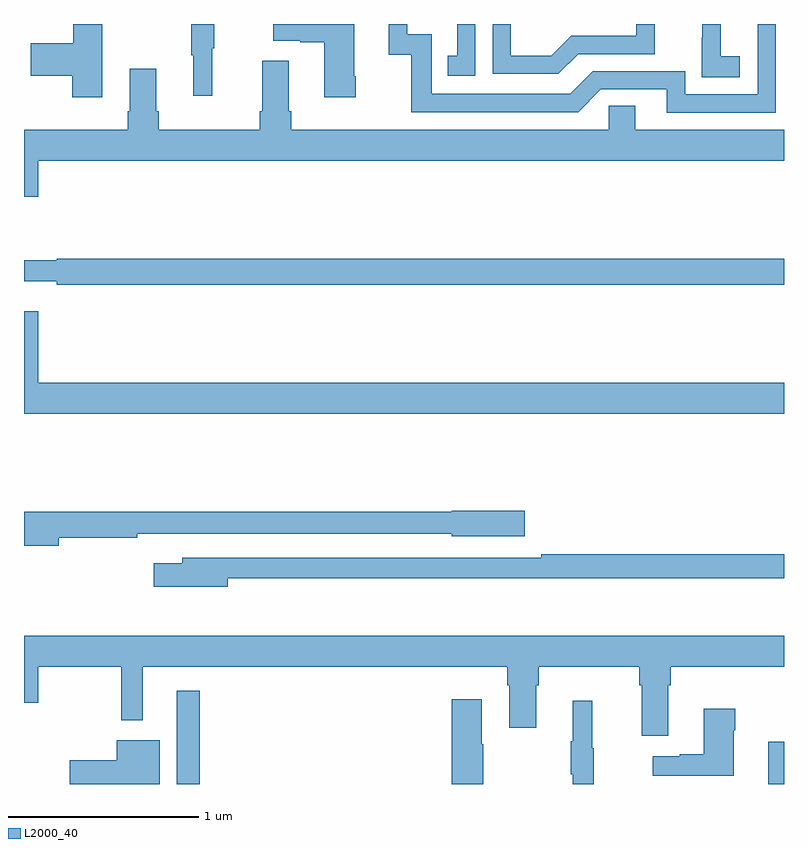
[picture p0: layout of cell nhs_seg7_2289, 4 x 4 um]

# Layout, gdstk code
import gdstk
lib = gdstk.Library(unit=1e-6, precision=1e-09)
def R(c, l, rs):  # rectangles x0, y0, x1, y1
    for r in rs: c.add(gdstk.rectangle(r[:2], r[2:], *l))
def P(c, l, *ps):  # polygons
    for p in ps: c.add(gdstk.Polygon(p, *l))
L2000_40 = (2000, 40)

nhs_seg7_2289 = lib.new_cell('nhs_seg7_2289')
R(nhs_seg7_2289, L2000_40, [(261.803,1000,261.925,1000.492), (264.917,1000,265,1000.222)])
P(nhs_seg7_2289, L2000_40, [(263.376,1004),(263.279,1004),(263.279,1003.833),(263.23,1003.833),(263.23,1003.728),(263.376,1003.728)],
  [(264.957,1004),(264.861,1004),(264.861,1003.629),(264.48,1003.629),(264.48,1003.752),(263.994,1003.752),(263.874,1003.632),(263.145,1003.632),(263.145,1003.947),(263.016,1003.947),(263.016,1004),(262.919,1004),(262.919,1003.839),(263.037,1003.839),(263.037,1003.536),(263.916,1003.536),(264.036,1003.656),(264.383,1003.656),(264.383,1003.533),(264.957,1003.533)],
  [(263.917,1003.842),(264.321,1003.842),(264.321,1004),(264.222,1004),(264.222,1003.938),(263.88,1003.938),(263.776,1003.834),(263.562,1003.834),(263.562,1004),(263.466,1004),(263.466,1003.737),(263.812,1003.737)],
  [(261.412,1004),(261.259,1004),(261.259,1003.898),(261.036,1003.898),(261.036,1003.727),(261.254,1003.727),(261.254,1003.614),(261.412,1003.614)],
  [(264.766,1003.831),(264.668,1003.831),(264.668,1004),(264.569,1004),(264.569,1003.927),(264.568,1003.927),(264.568,1003.721),(264.766,1003.721)],
  [(262.746,1003.726),(262.738,1003.726),(262.738,1004),(262.311,1004),(262.311,1003.913),(262.454,1003.913),(262.454,1003.903),(262.58,1003.903),(262.58,1003.614),(262.746,1003.614)],
  [(261.992,1003.872),(262,1003.872),(262,1004),(261.879,1004),(261.879,1003.835),(261.89,1003.835),(261.89,1003.623),(261.992,1003.623)],
  [(261.076,1003.28),(265,1003.28),(265,1003.444),(264.217,1003.444),(264.217,1003.571),(264.078,1003.571),(264.078,1003.444),(262.406,1003.444),(262.406,1003.54),(262.393,1003.54),(262.393,1003.807),(262.253,1003.807),(262.253,1003.54),(262.241,1003.54),(262.241,1003.444),(261.71,1003.444),(261.71,1003.54),(261.697,1003.54),(261.697,1003.765),(261.557,1003.765),(261.557,1003.54),(261.545,1003.54),(261.545,1003.444),(261,1003.444),(261,1003.092),(261.076,1003.092)],
  [(265,1002.764),(261.173,1002.764),(261.173,1002.757),(261,1002.757),(261,1002.647),(261.172,1002.647),(261.172,1002.628),(265,1002.628)],
  [(265,1002.112),(261.076,1002.112),(261.076,1002.487),(261,1002.487),(261,1001.948),(265,1001.948)],
  [(261.184,1001.296),(261.596,1001.296),(261.596,1001.316),(263.25,1001.316),(263.25,1001.303),(263.635,1001.303),(263.635,1001.438),(263.25,1001.438),(263.25,1001.432),(261,1001.432),(261,1001.254),(261.184,1001.254)],
  [(262.072,1001.082),(265,1001.082),(265,1001.21),(263.722,1001.21),(263.722,1001.19),(261.833,1001.19),(261.833,1001.161),(261.684,1001.161),(261.684,1001.039),(262.072,1001.039)],
  [(264.391,1000.52),(264.404,1000.52),(264.404,1000.616),(265,1000.616),(265,1000.78),(261,1000.78),(261,1000.428),(261.076,1000.428),(261.076,1000.616),(261.511,1000.616),(261.511,1000.335),(261.625,1000.335),(261.625,1000.616),(263.543,1000.616),(263.543,1000.52),(263.555,1000.52),(263.555,1000.296),(263.695,1000.296),(263.695,1000.52),(263.708,1000.52),(263.708,1000.616),(264.239,1000.616),(264.239,1000.52),(264.251,1000.52),(264.251,1000.254),(264.391,1000.254)],
  [(263.418,1000.208),(263.41,1000.208),(263.41,1000.447),(263.252,1000.447),(263.252,1000),(263.418,1000)],
  [(263.998,1000.188),(263.99,1000.188),(263.99,1000.438),(263.888,1000.438),(263.888,1000.225),(263.877,1000.225),(263.877,1000.051),(263.888,1000.051),(263.888,1000),(263.998,1000)],
  [(264.736,1000.283),(264.744,1000.283),(264.744,1000.396),(264.578,1000.396),(264.578,1000.157),(264.452,1000.157),(264.452,1000.147),(264.309,1000.147),(264.309,1000.043),(264.736,1000.043)],
  [(261.715,1000.231),(261.488,1000.231),(261.488,1000.125),(261.24,1000.125),(261.24,1000),(261.715,1000)])

lib.write_gds('nhs_seg7_2289.gds')
